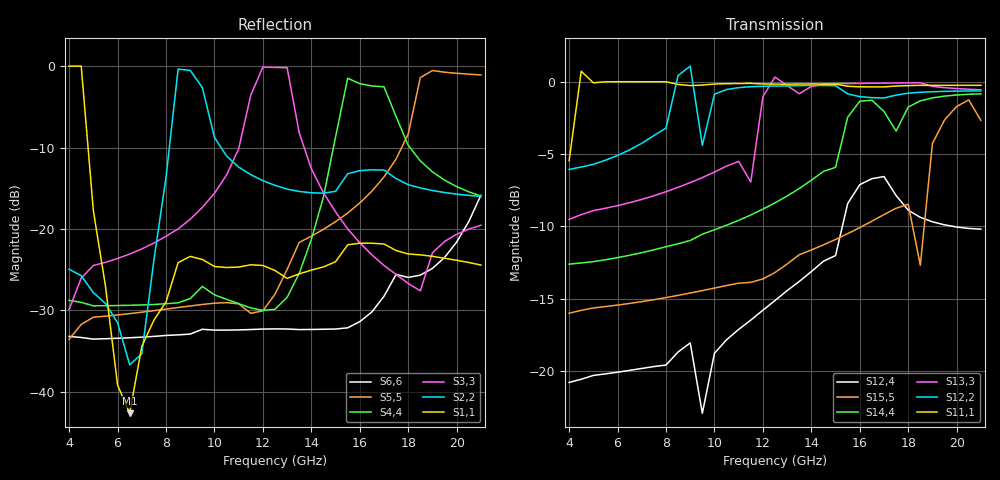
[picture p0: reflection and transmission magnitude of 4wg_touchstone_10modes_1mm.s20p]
! S-parameter export from POSTFEKO
! Filename: circular_4wg_10modes_V2
! Creation date: 2020-01-14 08:18:15
# Hz S MA R  5.0000000E+01
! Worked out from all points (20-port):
!   35 points, 4 GHz to 21 GHz, reference 50 ohm
!   strongest paths, dB at 4 GHz, 8 GHz, 12.5 GHz, 17 GHz, 21 GHz:
!     S11,1: -5.5, 0.0, -0.2, -0.4, -0.3
!     S12,2: -6.1, -3.2, -0.3, -1.1, -0.6
!     S13,3: -9.5, -7.6, 0.3, -0.1, -0.6
!     S14,4: -12.6, -11.4, -8.4, -2.1, -0.8
!     S15,5: -16.0, -14.9, -13.2, -9.2, -2.7
!     S12,4: -20.8, -19.6, -15.1, -6.6, -10.2
!   lowest |S11| = -42.6 dB at 6.5 GHz (marker M1), VSWR 1.01, Z = 49.3 + j0.229 ohm
!   |S11| at or under -10 dB: 4.782 GHz to end of sweep
